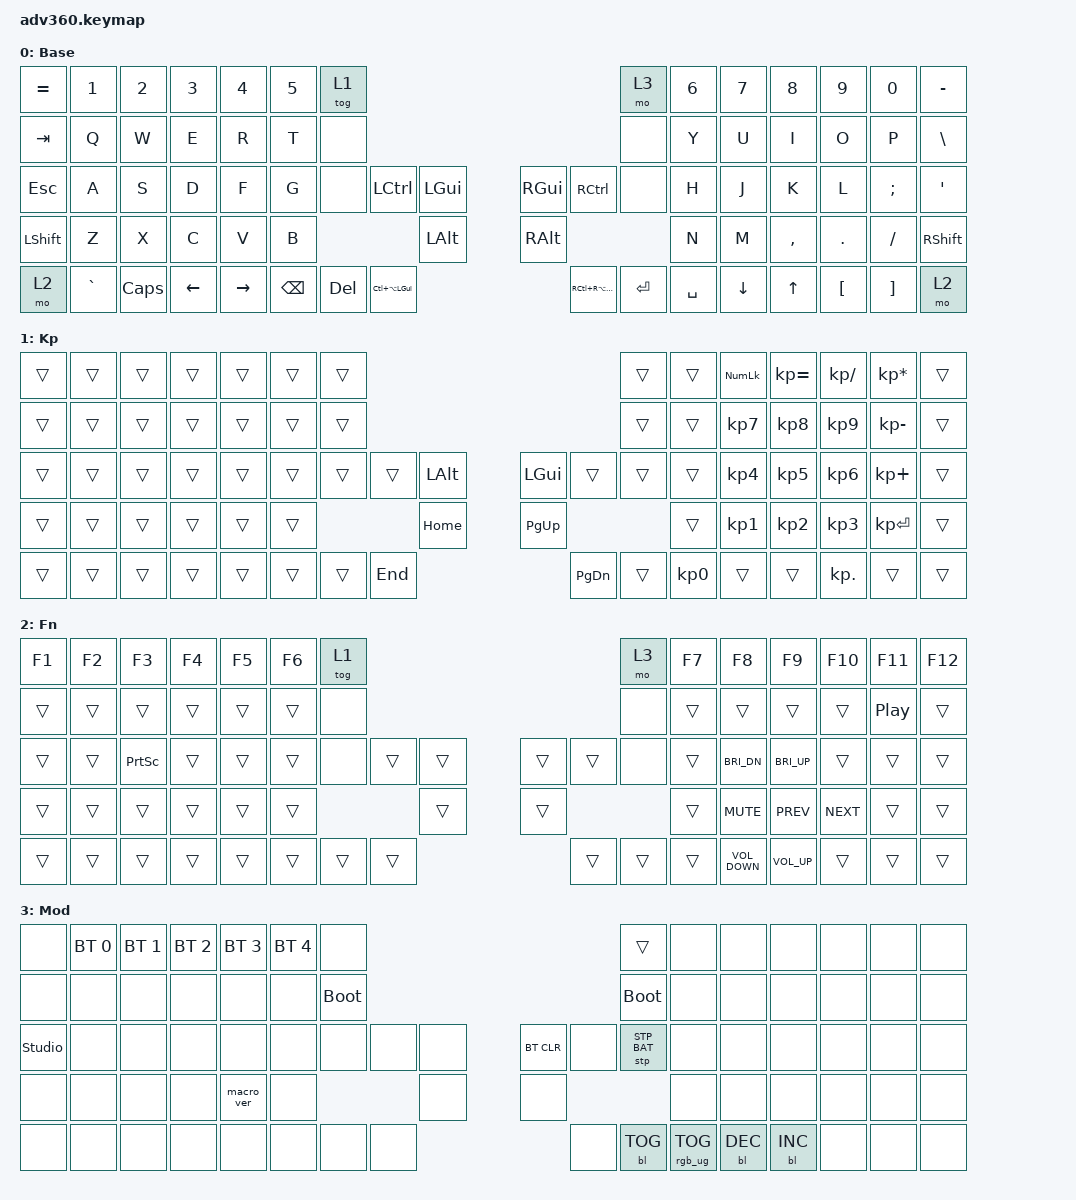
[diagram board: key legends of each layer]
#include <dt-bindings/zmk/stp.h>
#include <behaviors.dtsi>
#include <dt-bindings/zmk/backlight.h>
#include <dt-bindings/zmk/bt.h>
#include <dt-bindings/zmk/keys.h>
#include <dt-bindings/zmk/rgb.h>

/ {
    behaviors {
        #include "macros.dtsi"
      #include "version.dtsi"

        hm: homerow_mods {
            compatible = "zmk,behavior-hold-tap";
            label = "HOMEROW_MODS";
            #binding-cells = <2>;
            tapping-term-ms = <200>;
            quick_tap_ms = <175>;
            flavor = "tap-preferred";
            bindings = <&kp>, <&kp>;
        };

        lhm: lhm {
            compatible = "zmk,behavior-hold-tap";
            label = "LHM";
            bindings = <&kp>, <&kp>;

            #binding-cells = <2>;
            tapping-term-ms = <175>;
            quick-tap-ms = <147>;
            flavor = "tap-preferred";
            hold-trigger-key-positions = <7 8 9 10 11 12 13 21 22 23 24 25 26 27 38 39 40 41 42 43 44 45 54 55 56 57 58 59 69 70 71 72 73 74 75 37 38 53 68 69 70 35 36 52 65 66 67 29 30 31 32>;
        };

        rhm: rhm {
            compatible = "zmk,behavior-hold-tap";
            label = "RHM";
            bindings = <&kp>, <&kp>;

            #binding-cells = <2>;
            tapping-term-ms = <175>;
            quick-tap-ms = <149>;
            flavor = "tap-preferred";
            hold-trigger-key-positions = <0 1 2 3 4 5 6 14 15 16 17 18 19 20 28 29 30 31 32 33 34 35 36 46 47 48 49 50 51 52 60 61 62 63 64 65 66 67 37 38 53 68 69 70 44 43 42 41>;
        };

        backspace: backspace {
            compatible = "zmk,behavior-tap-dance";
            label = "BACKSPACE";
            #binding-cells = <0>;
            bindings = <&kp BACKSPACE>, <&kp LA(BACKSPACE)>;
        };
    };

    keymap {
        compatible = "zmk,keymap";

        default_layer {
            display-name = "Base";
            bindings = <
&kp EQUAL  &kp N1     &kp N2    &kp N3    &kp N4     &kp N5  &tog 1                                                                       &mo 3      &kp N6  &kp N7  &kp N8     &kp N9    &kp N0         &kp MINUS
&kp TAB    &kp Q      &kp W     &kp E     &kp R      &kp T   &none                                                                        &none      &kp Y   &kp U   &kp I      &kp O     &kp P          &kp BSLH
&kp ESC    &kp A      &kp S     &kp D     &kp F      &kp G   &none          &kp LCTRL  &kp LGUI              &kp RGUI          &kp RCTRL  &none      &kp H   &kp J   &kp K      &kp L     &kp SEMICOLON  &kp SQT
&kp LSHFT  &kp Z      &kp X     &kp C     &kp V      &kp B                             &kp LALT              &kp RALT                                &kp N   &kp M   &kp COMMA  &kp DOT   &kp FSLH       &kp RSHFT
&mo 2      &kp GRAVE  &kp CAPS  &kp LEFT  &kp RIGHT          &kp BACKSPACE  &kp DEL    &kp LC(LA(LGUI))      &kp RC(RA(RGUI))  &kp ENTER  &kp SPACE          &kp DOWN  &kp UP   &kp LBKT  &kp RBKT       &mo 2
            >;
        };

        keypad {
            display-name = "Kp";
            bindings = <
&trans  &trans  &trans  &trans  &trans  &trans  &trans                                      &trans  &trans  &kp KP_NUM  &kp KP_EQUAL  &kp KP_DIVIDE  &kp KP_MULTIPLY  &trans
&trans  &trans  &trans  &trans  &trans  &trans  &trans                                      &trans  &trans  &kp KP_N7   &kp KP_N8     &kp KP_N9      &kp KP_MINUS     &trans
&trans  &trans  &trans  &trans  &trans  &trans  &trans  &trans  &kp LALT  &kp LGUI  &trans  &trans  &trans  &kp KP_N4   &kp KP_N5     &kp KP_N6      &kp KP_PLUS      &trans
&trans  &trans  &trans  &trans  &trans  &trans                  &kp HOME  &kp PG_UP                  &trans  &kp KP_N1   &kp KP_N2     &kp KP_N3      &kp KP_ENTER     &trans
&trans  &trans  &trans  &trans  &trans          &trans  &trans  &kp END   &kp PG_DN  &trans  &kp KP_N0          &trans  &trans  &kp KP_DOT  &trans  &trans
            >;
        };

        fn {
            display-name = "Fn";
            bindings = <
&kp F1  &kp F2  &kp F3  &kp F4  &kp F5  &kp F6  &tog 1                                      &mo 3   &kp F7  &kp F8        &kp F9             &kp F10     &kp F11           &kp F12
&trans  &trans  &trans  &trans  &trans  &trans  &none                                       &none   &trans  &trans        &trans             &trans      &kp C_PLAY_PAUSE  &trans
&trans  &trans  &kp PSCRN  &trans  &trans  &trans  &none   &trans  &trans      &trans  &trans  &none   &trans  &kp C_BRI_DN  &kp C_BRI_UP      &trans      &trans            &trans
&trans  &trans  &trans  &trans  &trans  &trans                  &trans      &trans                  &trans  &kp C_MUTE    &kp C_PREV         &kp C_NEXT  &trans            &trans
&trans  &trans  &trans  &trans  &trans          &trans  &trans  &trans      &trans  &trans  &trans          &kp C_VOLUME_DOWN  &kp C_VOL_UP  &trans      &trans            &trans
            >;
        };

        mod {
            display-name = "Mod";
            bindings = <
&none           &bt BT_SEL 0  &bt BT_SEL 1  &bt BT_SEL 2  &bt BT_SEL 3  &bt BT_SEL 4  &none                                                  &trans           &none  &none       &none       &none  &none  &none
&none           &none         &none         &none         &none         &none         &bootloader                                            &bootloader      &none  &none       &none       &none  &none  &none
&studio_unlock  &none         &none         &none         &none         &none         &none        &none  &none      &bt BT_CLR  &none       &stp STP_BAT     &none  &none       &none       &none  &none  &none
&none           &none         &none         &none         &macro_ver    &none                             &none      &none                                    &none  &none       &none       &none  &none  &none
&none           &none         &none         &none         &none                       &none        &none  &none      &none       &bl BL_TOG  &rgb_ug RGB_TOG         &bl BL_DEC  &bl BL_INC  &none  &none  &none
            >;
        };

        extra1 {
            display-name = "Red";
            status = "reserved";
        };

        extra2 {
            display-name = "Purple";
            status = "reserved";
        };

        extra3 {
            display-name = "Cyan";
            status = "reserved";
        };

        extra4 {
            display-name = "Yellow";
            status = "reserved";
        };
    };
};
